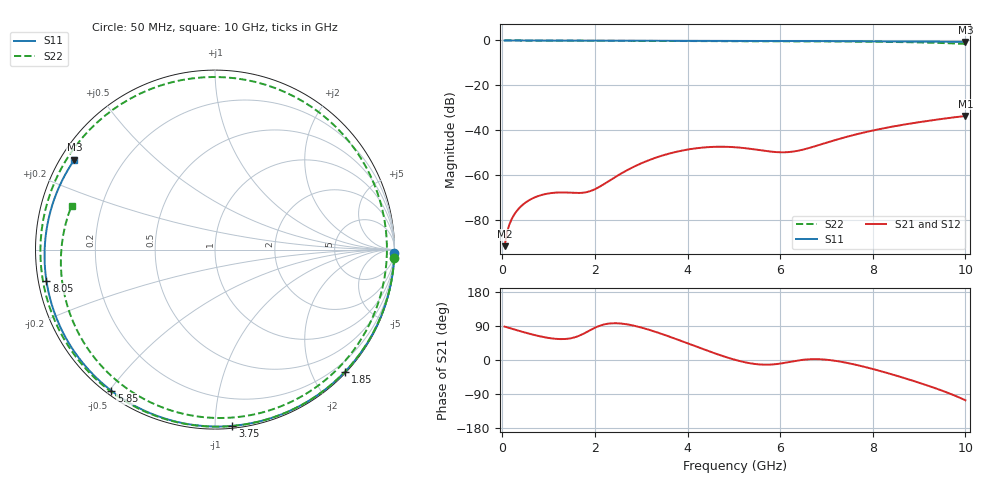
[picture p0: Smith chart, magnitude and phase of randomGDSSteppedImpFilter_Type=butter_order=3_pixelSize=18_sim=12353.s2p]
! freq	dB(S11)	phase(S11)	dB(S12)	phase(S12)
!  dB(S21)	phase(S21)	dB(S22)	phase(S22)
!S-par simulation data
#  GHz  S  DB  R 50
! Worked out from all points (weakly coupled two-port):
!   200 points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, 50 MHz to 10 GHz, reference 50 ohm
!   highest |S21| = -33.69 dB at 10 GHz (marker M1); lowest = -91.7 dB at 50 MHz (marker M2)
!   lowest |S11| = -0.6 dB at 10 GHz (marker M3), VSWR 27.48, Z = 1.98 + j14.6 ohm
!   |S11| at or under -10 dB: nowhere
!   |S22| runs from -1.6 to 0.0 dB; largest |S21 - S12| = 0
!   S11 on the Smith chart (normalised r, x): 50 MHz: 0, -96; 1.85 GHz: 0.02, -2.53; 3.75 GHz: 0.01, -1.10; 5.85 GHz: 0.02, -0.51; 8.05 GHz: 0.02, -0.09; 10 GHz: 0.04, +0.29
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0.05  -0.00 -1.2  -91.69 88.2  -91.69 88.2  -0.00 -2.6
0.2  -0.01 -4.8  -79.73 82.7  -79.73 82.7  -0.01 -10.2
0.45  -0.02 -10.7  -73.08 73.9  -73.08 73.9  -0.03 -22.8
0.8  -0.02 -18.9  -69.18 62.9  -69.18 62.9  -0.05 -40.5
1.3  -0.04 -30.6  -67.75 55.2  -67.75 55.2  -0.08 -65.9
1.75  -0.05 -40.9  -67.84 69.0  -67.84 69.0  -0.12 -89.2
1.85  -0.06 -43.1  -67.46 75.5  -67.46 75.5  -0.12 -94.4
2.55  -0.08 -58.7  -59.50 96.4  -59.50 96.4  -0.17 -132.4
3  -0.09 -68.5  -54.77 85.7  -54.77 85.7  -0.21 -158.6
3.4  -0.10 -77.0  -51.66 70.6  -51.66 70.6  -0.24 176.7
3.75  -0.11 -84.3  -49.67 55.4  -49.67 55.4  -0.28 153.8
4.45  -0.14 -98.6  -47.54 23.6  -47.54 23.6  -0.33 104.9
5.05  -0.17 -110.6  -47.63 -0.3  -47.63 -0.3  -0.35 62.3
5.45  -0.19 -118.4  -48.55 -10.4  -48.55 -10.4  -0.36 35.3
5.85  -0.22 -126.2  -49.65 -11.6  -49.65 -11.6  -0.37 10.3
6.7  -0.28 -142.7  -47.48 2.2  -47.48 2.2  -0.40 -35.7
7.35  -0.33 -155.5  -43.45 -5.4  -43.45 -5.4  -0.47 -65.5
8.05  -0.40 -169.5  -39.92 -25.3  -39.92 -25.3  -0.58 -94.7
8.35  -0.43 -175.7  -38.69 -35.6  -38.69 -35.6  -0.65 -107.0
9.2  -0.53 166.0  -35.82 -68.0  -35.82 -68.0  -0.96 -145.1
9.65  -0.59 155.7  -34.54 -88.0  -34.54 -88.0  -1.24 -170.9
10  -0.63 147.4  -33.69 -106.2  -33.69 -106.2  -1.56 163.0
